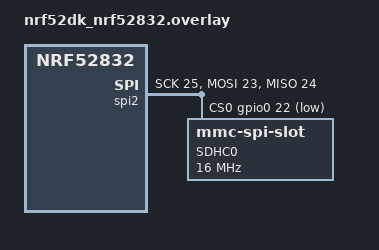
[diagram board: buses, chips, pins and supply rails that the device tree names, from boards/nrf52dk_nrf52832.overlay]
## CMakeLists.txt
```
cmake_minimum_required(VERSION 3.13.1)

find_package(Zephyr REQUIRED HINTS $ENV{ZEPHYR_BASE})
project(lcd-sd)

target_sources(app PRIVATE
  src/main.c
  src/lcd.c
  src/sd.c
)

target_include_directories(app PRIVATE inc)

zephyr_library_include_directories(.)
```

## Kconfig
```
source "Kconfig.zephyr"

menu "My menu example"

config MY_CONFIG_EXAMPLE_INT
	int "Example entry int"
	default 1024
	help
	  Some example entry int

endmenu
```

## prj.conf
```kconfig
# GPIO for LED
CONFIG_GPIO=y

## SDHC
CONFIG_SPI=y
CONFIG_DISK_ACCESS=y
CONFIG_DISK_ACCESS_SDHC=y
CONFIG_DISK_ACCESS_SPI_SDHC=y
CONFIG_FS_FATFS_MOUNT_MKFS=n

## FAT
CONFIG_FILE_SYSTEM=y
CONFIG_FAT_FILESYSTEM_ELM=y
CONFIG_FS_FATFS_READ_ONLY=y

## SHELL
CONFIG_SHELL=y

# Config logger
CONFIG_LOG=y
CONFIG_USE_SEGGER_RTT=y
CONFIG_LOG_BACKEND_RTT=y
CONFIG_LOG_BACKEND_UART=y

CONFIG_ASSERT=y
```

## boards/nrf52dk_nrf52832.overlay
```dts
&spi1 {
    status = "disabled";
};

sd_spi: &spi2 {
    compatible = "nordic,nrf-spi";
    status = "okay";
    sck-pin = <25>;
    mosi-pin = <23>;
    miso-pin = <24>;
    cs-gpios = <&gpio0 22 GPIO_ACTIVE_LOW>;

    sdhc0: sdhc@0 {
        compatible = "zephyr,mmc-spi-slot";
        reg = <0>;
        status = "okay";
        label = "SDHC0";
        spi-max-frequency = <16000000>;
	};
};
```

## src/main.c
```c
#include <logging/log.h>
#include <zephyr.h>
#include <device.h>
#include "lcd.h"
#include "sd.h"

#define STACKSIZE 	2048
#define PRIORITY	7

#define LOG_MODULE_NAME main
LOG_MODULE_REGISTER(LOG_MODULE_NAME);

void main(void)
{

	LOG_INF("START");

	//sd_init();
	lcd_init();

	for (;;) {
		k_sleep(K_SECONDS(1));
	}
}
```

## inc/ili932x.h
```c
#ifndef ILI932X_H
#define ILI932X_H

// Register names from Peter Barrett's Microtouch code
#define ILI932X_START_OSC          0x00
#define ILI932X_DRIV_OUT_CTRL      0x01
#define ILI932X_DRIV_WAV_CTRL      0x02
#define ILI932X_ENTRY_MOD          0x03
#define ILI932X_RESIZE_CTRL        0x04
#define ILI932X_DISP_CTRL1         0x07
#define ILI932X_DISP_CTRL2         0x08
#define ILI932X_DISP_CTRL3         0x09
#define ILI932X_DISP_CTRL4         0x0A
#define ILI932X_RGB_DISP_IF_CTRL1  0x0C
#define ILI932X_FRM_MARKER_POS     0x0D
#define ILI932X_RGB_DISP_IF_CTRL2  0x0F
#define ILI932X_POW_CTRL1          0x10
#define ILI932X_POW_CTRL2          0x11
#define ILI932X_POW_CTRL3          0x12
#define ILI932X_POW_CTRL4          0x13
#define ILI932X_GRAM_HOR_AD        0x20
#define ILI932X_GRAM_VER_AD        0x21
#define ILI932X_RW_GRAM            0x22
#define ILI932X_POW_CTRL7          0x29
#define ILI932X_FRM_RATE_COL_CTRL  0x2B
#define ILI932X_GAMMA_CTRL1        0x30
#define ILI932X_GAMMA_CTRL2        0x31
#define ILI932X_GAMMA_CTRL3        0x32
#define ILI932X_GAMMA_CTRL4        0x35
#define ILI932X_GAMMA_CTRL5        0x36
#define ILI932X_GAMMA_CTRL6        0x37
#define ILI932X_GAMMA_CTRL7        0x38
#define ILI932X_GAMMA_CTRL8        0x39
#define ILI932X_GAMMA_CTRL9        0x3C
#define ILI932X_GAMMA_CTRL10       0x3D
#define ILI932X_HOR_START_AD       0x50
#define ILI932X_HOR_END_AD         0x51
#define ILI932X_VER_START_AD       0x52
#define ILI932X_VER_END_AD         0x53
#define ILI932X_GATE_SCAN_CTRL1    0x60
#define ILI932X_GATE_SCAN_CTRL2    0x61
#define ILI932X_GATE_SCAN_CTRL3    0x6A
#define ILI932X_PART_IMG1_DISP_POS 0x80
#define ILI932X_PART_IMG1_START_AD 0x81
#define ILI932X_PART_IMG1_END_AD   0x82
#define ILI932X_PART_IMG2_DISP_POS 0x83
#define ILI932X_PART_IMG2_START_AD 0x84
#define ILI932X_PART_IMG2_END_AD   0x85
#define ILI932X_PANEL_IF_CTRL1     0x90
#define ILI932X_PANEL_IF_CTRL2     0x92
#define ILI932X_PANEL_IF_CTRL3     0x93
#define ILI932X_PANEL_IF_CTRL4     0x95
#define ILI932X_PANEL_IF_CTRL5     0x97
#define ILI932X_PANEL_IF_CTRL6     0x98

#endif /* ILI932X_H */
```

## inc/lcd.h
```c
#ifndef LCD_H
#define LCD_H

int lcd_init(void);

#endif /* LCD_H */
```

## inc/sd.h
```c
#ifndef SD_H
#define SD_H

void sd_init(void);

#endif /* LCD_H */
```

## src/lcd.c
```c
#include <zephyr.h>
#include <drivers/gpio.h>
#include <logging/log.h>
#include "ili932x.h"

#define LOG_MODULE_NAME lcd
LOG_MODULE_REGISTER(LOG_MODULE_NAME);

#define DATA_WIDTH 8

#define CS_ACTIVE  gpio_pin_set(gpio0, lcd0.cs, 0)
#define CS_IDLE    gpio_pin_set(gpio0, lcd0.cs, 1)
#define RD_ACTIVE  gpio_pin_set(gpio0, lcd0.rd, 0)
#define RD_IDLE    gpio_pin_set(gpio0, lcd0.rd, 1)
#define WR_ACTIVE  gpio_pin_set(gpio0, lcd0.wr, 0)
#define WR_IDLE    gpio_pin_set(gpio0, lcd0.wr, 1)
#define RS_COMMAND gpio_pin_set(gpio0, lcd0.rs, 0)
#define RS_DATA    gpio_pin_set(gpio0, lcd0.rs, 1)
#define RST_ACTIVE gpio_pin_set(gpio0, lcd0.rst, 0)
#define RST_IDLE   gpio_pin_set(gpio0, lcd0.rst, 1)

#define DATA_INPUT  set_data_pins(GPIO_INPUT)
#define DATA_OUTPUT set_data_pins(GPIO_OUTPUT)

#define TFTLCD_DELAY 0xFF


typedef struct
{
    gpio_pin_t data[DATA_WIDTH];
    gpio_pin_t rst;
    gpio_pin_t cs;
    gpio_pin_t rs;
    gpio_pin_t wr;
    gpio_pin_t rd;
} lcd_t;

lcd_t lcd0 = {
    .data = {19, 20, 13, 14, 15, 16, 17, 18},
    .rst = 30,
    .cs  = 29,
    .rs = 28,
    .wr = 4,
    .rd = 3,
};

static const struct device *gpio0;

static int
set_data_pins(gpio_flags_t flags)
{
    for (int i = 0; i < DATA_WIDTH; i++)
    {
        int ret = gpio_pin_configure(gpio0, lcd0.data[i], flags);
        if (ret < 0)
        {
            printk("Failed to configure pin %d: %d\n", lcd0.data[i], ret);
            return ret;
        }
    }

    return 0;
}

static void
write_data8(uint8_t data)
{
    // set high byte
    for (int i = 0; i < DATA_WIDTH; i++)
    {
        gpio_pin_set(gpio0, lcd0.data[i], data & (1 << i));
    }

    WR_ACTIVE;
    k_sleep(K_MSEC(1));
    WR_IDLE;
    k_sleep(K_MSEC(1));
}

static uint8_t
read_data8(void)
{
    uint8_t data = 0;

    RD_ACTIVE;
    k_sleep(K_MSEC(1));
    for (int i = 0; i < DATA_WIDTH; i++)
    {
        if (gpio_pin_get(gpio0, lcd0.data[i]))
        {
            data |= (1 << i);
        }
    }
    RD_IDLE;
    k_sleep(K_MSEC(1));

    return data;
}

static void
write_reg16(uint16_t reg)
{
    RS_COMMAND;
    DATA_OUTPUT;
    CS_ACTIVE;
    write_data8(reg >> 8);
    write_data8(reg & 0xFF);
    CS_IDLE;
}

static void
write_data16(uint16_t data)
{
    RS_DATA;
    DATA_OUTPUT;
    CS_ACTIVE;
    write_data8(data >> 8);
    write_data8(data & 0xFF);
    CS_IDLE;
}

static uint16_t
read_data16()
{
    uint16_t data;
    RS_DATA;
    DATA_INPUT;
    CS_ACTIVE;
    data = read_data8();
    data = data << 8;
    data = data | read_data8();
    CS_IDLE;
    return data;
}

static void
write16(uint16_t reg, uint16_t data)
{
    write_reg16(reg);
    write_data16(data);
}

static uint16_t
read16(uint16_t reg)
{
    write_reg16(reg);
    return read_data16();
}

static uint16_t
lcd_read_id(void)
{
    uint16_t id = read16(0x0000); // Driver Code register address
    printk("id: 0x%04x\n", id);
    return id;
}

static const uint16_t ILI932x_regValues[] = {
  ILI932X_START_OSC        , 0x0001, // Start oscillator
  TFTLCD_DELAY             , 50,     // 50 millisecond delay
  ILI932X_DRIV_OUT_CTRL    , 0x0100,
  ILI932X_DRIV_WAV_CTRL    , 0x0700,
  ILI932X_ENTRY_MOD        , 0x1030,
  ILI932X_RESIZE_CTRL      , 0x0000,
  ILI932X_DISP_CTRL2       , 0x0202,
  ILI932X_DISP_CTRL3       , 0x0000,
  ILI932X_DISP_CTRL4       , 0x0000,
  ILI932X_RGB_DISP_IF_CTRL1, 0x0,
  ILI932X_FRM_MARKER_POS   , 0x0,
  ILI932X_RGB_DISP_IF_CTRL2, 0x0,
  ILI932X_POW_CTRL1        , 0x0000,
  ILI932X_POW_CTRL2        , 0x0007,
  ILI932X_POW_CTRL3        , 0x0000,
  ILI932X_POW_CTRL4        , 0x0000,
  TFTLCD_DELAY             , 200,
  ILI932X_POW_CTRL1        , 0x1690,
  ILI932X_POW_CTRL2        , 0x0227,
  TFTLCD_DELAY             , 50,
  ILI932X_POW_CTRL3        , 0x001A,
  TFTLCD_DELAY             , 50,
  ILI932X_POW_CTRL4        , 0x1800,
  ILI932X_POW_CTRL7        , 0x002A,
  TFTLCD_DELAY             , 50,
  ILI932X_GAMMA_CTRL1      , 0x0000,
  ILI932X_GAMMA_CTRL2      , 0x0000,
  ILI932X_GAMMA_CTRL3      , 0x0000,
  ILI932X_GAMMA_CTRL4      , 0x0206,
  ILI932X_GAMMA_CTRL5      , 0x0808,
  ILI932X_GAMMA_CTRL6      , 0x0007,
  ILI932X_GAMMA_CTRL7      , 0x0201,
  ILI932X_GAMMA_CTRL8      , 0x0000,
  ILI932X_GAMMA_CTRL9      , 0x0000,
  ILI932X_GAMMA_CTRL10     , 0x0000,
  ILI932X_GRAM_HOR_AD      , 0x0000,
  ILI932X_GRAM_VER_AD      , 0x0000,
  ILI932X_HOR_START_AD     , 0x0000,
  ILI932X_HOR_END_AD       , 0x00EF,
  ILI932X_VER_START_AD     , 0X0000,
  ILI932X_VER_END_AD       , 0x013F,
  ILI932X_GATE_SCAN_CTRL1  , 0xA700, // Driver Output Control (R60h)
  ILI932X_GATE_SCAN_CTRL2  , 0x0003, // Driver Output Control (R61h)
  ILI932X_GATE_SCAN_CTRL3  , 0x0000, // Driver Output Control (R62h)
  ILI932X_PANEL_IF_CTRL1   , 0X0010, // Panel Interface Control 1 (R90h)
  ILI932X_PANEL_IF_CTRL2   , 0X0000,
  ILI932X_PANEL_IF_CTRL3   , 0X0003,
  ILI932X_PANEL_IF_CTRL4   , 0X1100,
  ILI932X_PANEL_IF_CTRL5   , 0X0000,
  ILI932X_PANEL_IF_CTRL6   , 0X0000,
  ILI932X_DISP_CTRL1       , 0x0133, // Main screen turn on
};

static void
lcd_9325_init()
{
    uint16_t i = 0, a, d;
    while(i < sizeof(ILI932x_regValues) / sizeof(uint16_t)) {
        a = ILI932x_regValues[i++];
        d = ILI932x_regValues[i++];
        if(a == TFTLCD_DELAY)
        {
            k_sleep(K_MSEC(d));
        }
        else
        {
            write16(a, d);
        }
    }
    //setRotation(rotation);
    //setAddrWindow(0, 0, TFTWIDTH-1, TFTHEIGHT-1);
}


int
lcd_init(void)
{
    gpio0 = device_get_binding("GPIO_0");
    if (gpio0 == NULL)
    {
        printk("Failed to get GPIO_0\n");
        return -1;
    }

    gpio_pin_configure(gpio0, lcd0.cs,  GPIO_OUTPUT_HIGH);
    gpio_pin_configure(gpio0, lcd0.rs,  GPIO_OUTPUT_HIGH);
    gpio_pin_configure(gpio0, lcd0.rd,  GPIO_OUTPUT_HIGH);
    gpio_pin_configure(gpio0, lcd0.wr,  GPIO_OUTPUT_HIGH);
    gpio_pin_configure(gpio0, lcd0.rst, GPIO_OUTPUT_HIGH);
    set_data_pins(GPIO_OUTPUT_HIGH);

    // reset
    RST_ACTIVE;
    k_sleep(K_MSEC(10));
    RST_IDLE;

    uint16_t id = lcd_read_id();
    //My shield uses ILI9325
    if (id == 0x9325)
    {
        printk("LCD 0x%04X init OK\n", id);
        lcd_9325_init();
        for (int i = 0; i < 200; i++)
        {
            write16(0x0020, i);
            write16(0x0021, i);
            write16(0x0022, i << 3);
        }
        return 0;
    }

    printk("LCD ID is wrong: 0x%04X\n", id);
    return -1;
}
```

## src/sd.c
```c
#include <string.h>
#include <logging/log.h>
#include <disk/disk_access.h>
#include <fs/fs.h>
#include <ff.h>
#include "sd.h"

#define LOG_MODULE_NAME sd
LOG_MODULE_REGISTER(LOG_MODULE_NAME);

K_HEAP_DEFINE(fs_heap, 1000);

/* SD + FS */

static FATFS fat_fs;
/* mounting info */
static struct fs_mount_t mp = {
	.type = FS_FATFS,
	.fs_data = &fat_fs,
};

/*
*  Note the fatfs library is able to mount only strings inside _VOLUME_STRS
*  in ffconf.h
*/
static const char *disk_mount_pt = "/SD:";


static int lsdir(const char *path, int depth, int current)
{
	int res;
	struct fs_dir_t dirp;
	static struct fs_dirent entry;

	fs_dir_t_init(&dirp);

	/* Verify fs_opendir() */
	res = fs_opendir(&dirp, path);
	if (res) {
		printk("Error opening dir %s [%d]\n", path, res);
		return res;
	}

	char *int_dir = k_heap_alloc(&fs_heap, 100, K_NO_WAIT);
	char *int_dir_p;
	memcpy(int_dir, path, strlen(path));
	int_dir[strlen(path)] = '/';
	int_dir_p = &int_dir[0] + strlen(path) + 1;

	for (;;) {
		/* Verify fs_readdir() */
		res = fs_readdir(&dirp, &entry);

		/* entry.name[0] == 0 means end-of-dir */
		if (res || entry.name[0] == 0) {
			break;
		}

		/* tree hierarchy */
		printk("+");
		for (int i = 0; i < current; i++)
		{
			printk("-");
		}
		if (entry.type == FS_DIR_ENTRY_DIR) {
			printk("[DIR ] %s\n", entry.name);
			memcpy(int_dir_p, entry.name, strlen(entry.name));
			int_dir[strlen(path)+strlen(entry.name)+1] = 0;
			if (depth > 0)
			{
				lsdir(int_dir, depth-1, current+1);
			}
		} else {
			printk("[FILE] %s (size = %zu)\n",
				entry.name, entry.size);
		}
	}

	/* Verify fs_closedir() */
	fs_closedir(&dirp);
	k_heap_free(&fs_heap, int_dir);
	return res;
}

void sd_init(void)
{
	/* raw disk i/o */
	do {
		static const char *disk_pdrv = "SD";
		uint64_t memory_size_mb;
		uint32_t block_count;
		uint32_t block_size;

		if (disk_access_init(disk_pdrv) != 0) {
			LOG_ERR("Storage init ERROR!");
			break;
		}

		if (disk_access_ioctl(disk_pdrv,
				DISK_IOCTL_GET_SECTOR_COUNT, &block_count)) {
			LOG_ERR("Unable to get sector count");
			break;
		}
		LOG_INF("Block count %u", block_count);

		if (disk_access_ioctl(disk_pdrv,
				DISK_IOCTL_GET_SECTOR_SIZE, &block_size)) {
			LOG_ERR("Unable to get sector size");
			break;
		}
		printk("Sector size %u\n", block_size);

		memory_size_mb = (uint64_t)block_count * block_size;
		printk("Memory Size(MB) %u\n", (uint32_t)(memory_size_mb >> 20));
	} while (0);

	mp.mnt_point = disk_mount_pt;

	int res = fs_mount(&mp);

	if (res == FR_OK) {
		printk("Disk mounted.\n");
		printk("\nListing dir %s\n", disk_mount_pt);
		lsdir(disk_mount_pt, 3, 0);
		if (fs_unmount(&mp))
		{
			LOG_ERR("Error unmounting %s\n", mp.mnt_point);
		}
	} else {
		printk("Error mounting disk.\n");
	}
}
```
